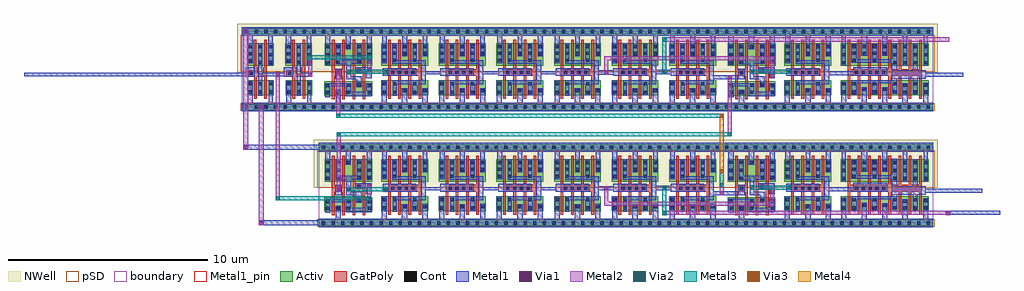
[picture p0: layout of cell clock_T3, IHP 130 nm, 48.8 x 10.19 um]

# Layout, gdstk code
import gdstk
lib = gdstk.Library(unit=1e-6, precision=1e-09)
def R(c, l, rs):  # rectangles x0, y0, x1, y1
    for r in rs: c.add(gdstk.rectangle(r[:2], r[2:], *l))
def A(c, l, x, y, w, h, nx, ny, dx, dy):  # array of equal rectangles
    R(c, l, [(x+i*dx, y+j*dy, x+i*dx+w, y+j*dy+h) for i in range(nx) for j in range(ny)])
def P(c, l, *ps):  # polygons
    for p in ps: c.add(gdstk.Polygon(p, *l))
Activ = (1, 0)
GatPoly = (5, 0)
Cont = (6, 0)
Metal1 = (8, 0)
Metal1_pin = (8, 2)
Metal2 = (10, 0)
pSD = (14, 0)
Via1 = (19, 0)
Via2 = (29, 0)
Metal3 = (30, 0)
NWell = (31, 0)
Via3 = (49, 0)
Metal4 = (50, 0)
boundary = (189, 4)

sg13g2_inv_8 = lib.new_cell('sg13g2_inv_8')
R(sg13g2_inv_8, Activ, [(0,-0.15,4.8,0.15), (0.185,0.59,4.575,1.33), (0.185,2.06,4.575,3.18), (0,3.63,4.8,3.93)])
P(sg13g2_inv_8, GatPoly, [(0.525,0.41),(0.525,3.36),(0.655,3.36),(0.655,1.9),(1.035,1.9),(1.035,3.36),(1.165,3.36),(1.165,1.9),(1.545,1.9),(1.545,3.36),(1.675,3.36),(1.675,1.9),(2.055,1.9),(2.055,3.36),(2.185,3.36),(2.185,1.9),(2.565,1.9),(2.565,3.36),(2.695,3.36),(2.695,1.9),(3.075,1.9),(3.075,3.36),(3.205,3.36),(3.205,1.9),(3.585,1.9),(3.585,3.36),(3.715,3.36),(3.715,1.9),(4.105,1.9),(4.105,3.36),(4.235,3.36),(4.235,0.41),(4.105,0.41),(4.105,1.57),(3.715,1.57),(3.715,0.41),(3.585,0.41),(3.585,1.57),(3.205,1.57),(3.205,0.41),(3.075,0.41),(3.075,1.57),(2.695,1.57),(2.695,0.41),(2.565,0.41),(2.565,1.57),(2.185,1.57),(2.185,0.41),(2.055,0.41),(2.055,1.57),(1.675,1.57),(1.675,0.41),(1.545,0.41),(1.545,1.57),(1.165,1.57),(1.165,0.41),(1.035,0.41),(1.035,1.57),(0.655,1.57),(0.655,0.41)])
A(sg13g2_inv_8, Cont, 0.16, -0.08, 0.16, 0.16, 10, 2, 0.48, 3.78)
A(sg13g2_inv_8, Cont, 0.765, 1.08, 0.16, 0.16, 4, 1, 1.02, 0)
A(sg13g2_inv_8, Cont, 0.89, 1.655, 0.16, 0.16, 5, 1, 0.34, 0)
A(sg13g2_inv_8, Cont, 2.805, 2.14, 0.16, 0.16, 3, 2, 0.51, 0.4)
A(sg13g2_inv_8, Cont, 0.255, 2.945, 0.16, 0.16, 8, 1, 0.51, 0)
R(sg13g2_inv_8, Cont, [(3.315,0.665,3.475,0.825), (0.255,0.67,0.415,0.83), (0.765,0.67,0.925,0.83), (1.785,0.67,1.945,0.83), (3.825,0.67,3.985,0.83), (4.345,0.67,4.505,0.83), (2.805,0.675,2.965,0.835), (1.275,0.815,1.435,0.975), (2.295,0.815,2.455,0.975), (3.315,1.015,3.475,1.175), (4.345,1.025,4.505,1.185), (0.255,1.08,0.415,1.24), (0.255,2.14,0.415,2.3), (4.345,2.14,4.505,2.3), (0.765,2.255,0.925,2.415), (1.785,2.255,1.945,2.415), (0.255,2.54,0.415,2.7), (4.345,2.54,4.505,2.7), (1.275,2.595,1.435,2.755), (2.295,2.595,2.455,2.755), (0.765,2.605,0.925,2.765), (1.785,2.605,1.945,2.765), (4.345,2.945,4.505,3.105)])
R(sg13g2_inv_8, Metal1, [(0.805,1.57,2.495,2)])
P(sg13g2_inv_8, Metal1, [(0,-0.22),(0,0.22),(0.205,0.22),(0.205,1.27),(0.465,1.27),(0.465,0.22),(1.225,0.22),(1.225,1),(1.485,1),(1.485,0.22),(2.245,0.22),(2.245,0.99),(2.505,0.99),(2.505,0.22),(3.265,0.22),(3.265,1.195),(3.525,1.195),(3.525,0.22),(4.295,0.22),(4.295,1.225),(4.555,1.225),(4.555,0.22),(4.8,0.22),(4.8,-0.22)],
  [(3.29,2.055),(3.29,3.56),(2.515,3.56),(2.515,2.56),(2.245,2.56),(2.245,3.56),(1.495,3.56),(1.495,2.565),(1.215,2.565),(1.215,3.56),(0.435,3.56),(0.435,2.06),(0.24,2.06),(0.24,3.56),(0,3.56),(0,4),(4.8,4),(4.8,3.56),(4.53,3.56),(4.53,2.065),(4.32,2.065),(4.32,3.56),(3.5,3.56),(3.5,2.055)],
  [(0.715,0.62),(0.715,1.345),(2.74,1.345),(2.74,2.22),(0.715,2.22),(0.715,3.16),(0.98,3.16),(0.98,2.385),(1.73,2.385),(1.73,3.155),(1.995,3.155),(1.995,2.38),(2.74,2.38),(2.74,3.2),(3.015,3.2),(3.015,1.84),(3.775,1.84),(3.775,3.19),(4.035,3.19),(4.035,1.84),(4.44,1.84),(4.44,1.42),(4.035,1.42),(4.035,0.64),(3.775,0.64),(3.775,1.42),(3.015,1.42),(3.015,0.665),(2.755,0.665),(2.755,1.18),(2,1.18),(2,0.635),(1.735,0.635),(1.735,1.18),(0.98,1.18),(0.98,0.62)])
R(sg13g2_inv_8, Metal1_pin, [(0,-0.22,4.8,0.22), (2.74,1.42,4.44,1.84), (0.805,1.57,2.495,2), (0,3.56,4.8,4)])
R(sg13g2_inv_8, pSD, [(-0.07,-0.18,4.87,0.18), (-0.07,1.76,4.87,3.6)])
R(sg13g2_inv_8, NWell, [(-0.24,1.75,5.04,4.17)])
R(sg13g2_inv_8, boundary, [(0,0,4.8,3.78)])
sg13g2_inv_8.add(gdstk.Label('VDD', (2.71,3.78), layer=8, texttype=25))
sg13g2_inv_8.add(gdstk.Label('VSS', (2.31,-0.02), layer=8, texttype=25))
sg13g2_inv_8.add(gdstk.Label('Y', (3.65,1.64), layer=8, texttype=25))
sg13g2_inv_8.add(gdstk.Label('A', (1.645,1.785), layer=8, texttype=25))

sg13g2_inv_4 = lib.new_cell('sg13g2_inv_4')
R(sg13g2_inv_4, Activ, [(0,-0.15,2.88,0.15), (0.245,0.59,2.585,1.33), (0.245,2.06,2.585,3.18), (0,3.63,2.88,3.93)])
P(sg13g2_inv_4, GatPoly, [(0.585,0.41),(0.585,3.36),(0.715,3.36),(0.715,1.9),(1.095,1.9),(1.095,3.36),(1.225,3.36),(1.225,1.9),(1.605,1.9),(1.605,3.36),(1.735,3.36),(1.735,1.9),(2.115,1.9),(2.115,3.36),(2.245,3.36),(2.245,0.41),(2.115,0.41),(2.115,1.57),(1.735,1.57),(1.735,0.41),(1.605,0.41),(1.605,1.57),(1.225,1.57),(1.225,0.41),(1.095,0.41),(1.095,1.57),(0.715,1.57),(0.715,0.41)])
A(sg13g2_inv_4, Cont, 0.16, -0.08, 0.16, 0.16, 6, 2, 0.48, 3.78)
A(sg13g2_inv_4, Cont, 0.735, 1.655, 0.16, 0.16, 4, 1, 0.34, 0)
A(sg13g2_inv_4, Cont, 0.315, 2.945, 0.16, 0.16, 5, 1, 0.51, 0)
R(sg13g2_inv_4, Cont, [(0.315,0.665,0.475,0.825), (0.825,0.665,0.985,0.825), (1.845,0.665,2.005,0.825), (1.335,0.735,1.495,0.895), (2.355,0.735,2.515,0.895), (0.315,1.09,0.475,1.25), (0.825,1.09,0.985,1.25), (1.845,1.09,2.005,1.25), (0.315,2.255,0.475,2.415), (0.825,2.255,0.985,2.415), (1.845,2.255,2.005,2.415), (1.335,2.595,1.495,2.755), (2.355,2.595,2.515,2.755), (0.315,2.605,0.475,2.765), (0.825,2.605,0.985,2.765), (1.845,2.605,2.005,2.765)])
R(sg13g2_inv_4, Metal1, [(0.325,1.57,2,1.95)])
P(sg13g2_inv_4, Metal1, [(0.285,2.19),(0.285,3.56),(0,3.56),(0,4),(2.88,4),(2.88,3.56),(2.55,3.56),(2.55,2.54),(2.32,2.54),(2.32,3.56),(1.54,3.56),(1.54,2.53),(1.3,2.53),(1.3,3.56),(0.53,3.56),(0.53,2.19)],
  [(0,-0.21),(0,0.21),(0.27,0.21),(0.27,1.325),(0.52,1.325),(0.52,0.21),(1.28,0.21),(1.28,0.945),(1.55,0.945),(1.55,0.22),(2.305,0.22),(2.305,0.95),(2.565,0.95),(2.565,0.21),(2.88,0.21),(2.88,-0.21)],
  [(0.815,0.57),(0.815,1.34),(2.245,1.34),(2.245,2.17),(0.8,2.17),(0.8,3.18),(1.015,3.18),(1.015,2.34),(1.815,2.34),(1.815,3.175),(2.03,3.175),(2.03,2.34),(2.475,2.34),(2.475,1.145),(2.06,1.145),(2.06,0.595),(1.805,0.595),(1.805,1.145),(1.01,1.145),(1.01,0.57)])
R(sg13g2_inv_4, Metal1_pin, [(0,-0.21,2.88,0.21), (2.245,1.145,2.475,2.34), (0.325,1.57,2,1.95), (0,3.56,2.88,4)])
R(sg13g2_inv_4, pSD, [(-0.07,-0.18,2.95,0.18), (-0.07,1.76,2.95,3.6)])
R(sg13g2_inv_4, NWell, [(-0.24,1.75,3.12,4.17)])
R(sg13g2_inv_4, boundary, [(0,0,2.88,3.78)])
sg13g2_inv_4.add(gdstk.Label('VSS', (1.405,0.005), layer=8, texttype=25))
sg13g2_inv_4.add(gdstk.Label('Y', (2.36,1.755), layer=8, texttype=25))
sg13g2_inv_4.add(gdstk.Label('VDD', (1.925,3.8), layer=8, texttype=25))
sg13g2_inv_4.add(gdstk.Label('A', (1.12,1.76), layer=8, texttype=25))

sg13g2_nand2_2 = lib.new_cell('sg13g2_nand2_2')
R(sg13g2_nand2_2, Activ, [(0,-0.15,2.88,0.15), (0.285,0.575,2.67,1.295), (0.3,2.06,2.68,3.18), (0,3.63,2.88,3.93)])
P(sg13g2_nand2_2, GatPoly, [(1.69,0.395),(1.69,3.36),(1.82,3.36),(1.82,1.99),(2.2,1.99),(2.2,3.36),(2.33,3.36),(2.33,0.395),(2.2,0.395),(2.2,1.685),(1.82,1.685),(1.82,0.395)],
  [(0.66,0.395),(0.66,3.36),(0.79,3.36),(0.79,1.875),(1.17,1.875),(1.17,3.36),(1.3,3.36),(1.3,0.395),(1.17,0.395),(1.17,1.565),(0.79,1.565),(0.79,0.395)])
A(sg13g2_nand2_2, Cont, 0.16, -0.08, 0.16, 0.16, 6, 2, 0.48, 3.78)
A(sg13g2_nand2_2, Cont, 0.9, 2.15, 0.16, 0.16, 1, 3, 0, 0.4)
R(sg13g2_nand2_2, Cont, [(0.9,0.645,1.06,0.805), (0.38,0.65,0.54,0.81), (2.44,0.65,2.6,0.81), (1.41,0.66,1.57,0.82), (0.375,0.99,0.535,1.15), (2.44,0.99,2.6,1.15), (1.41,1.005,1.57,1.165), (1.93,1.05,2.09,1.21), (0.9,1.64,1.06,1.8), (1.93,1.76,2.09,1.92), (0.37,2.14,0.53,2.3), (1.93,2.21,2.09,2.37), (2.44,2.21,2.6,2.37), (0.37,2.54,0.53,2.7), (1.93,2.55,2.09,2.71), (2.44,2.55,2.6,2.71), (0.37,2.95,0.53,3.11), (1.41,2.95,1.57,3.11), (1.93,2.95,2.09,3.11), (2.44,2.95,2.6,3.11)])
R(sg13g2_nand2_2, Metal1, [(0.82,1.39,1.15,1.92)])
P(sg13g2_nand2_2, Metal1, [(0,-0.22),(0,0.22),(0.85,0.22),(0.85,0.855),(1.11,0.855),(1.11,0.22),(2.88,0.22),(2.88,-0.22)],
  [(0.325,0.5),(0.325,1.2),(1.62,1.2),(1.62,0.76),(2.37,0.76),(2.37,1.2),(2.65,1.2),(2.65,0.53),(1.35,0.53),(1.35,1.035),(0.585,1.035),(0.585,0.5)],
  [(1.88,1),(1.88,1.39),(1.38,1.39),(1.38,2.14),(0.84,2.14),(0.84,3.18),(1.1,3.18),(1.1,2.36),(1.89,2.36),(1.89,3.18),(2.15,3.18),(2.15,2.16),(1.62,2.16),(1.62,1.55),(2.14,1.55),(2.14,1)],
  [(2.37,1.44),(2.37,1.73),(1.815,1.73),(1.815,1.98),(2.645,1.98),(2.645,1.44)],
  [(0.32,2.125),(0.32,3.56),(0,3.56),(0,4),(2.88,4),(2.88,3.56),(2.65,3.56),(2.65,2.16),(2.39,2.16),(2.39,3.56),(1.61,3.56),(1.61,2.9),(1.35,2.9),(1.35,3.56),(0.58,3.56),(0.58,2.125)])
R(sg13g2_nand2_2, Metal1_pin, [(0,-0.22,2.88,0.22), (0.82,1.39,1.15,1.92), (1.38,1.39,1.62,2.36), (1.815,1.73,2.645,1.98), (0,3.56,2.88,4)])
R(sg13g2_nand2_2, pSD, [(-0.07,-0.18,2.95,0.18), (-0.07,1.76,2.95,3.6)])
R(sg13g2_nand2_2, NWell, [(-0.24,1.75,3.12,4.17)])
R(sg13g2_nand2_2, boundary, [(0,0,2.88,3.78)])
sg13g2_nand2_2.add(gdstk.Label('VSS', (0.51,0), layer=8, texttype=25))
sg13g2_nand2_2.add(gdstk.Label('Y', (1.48,2.105), layer=8, texttype=25))
sg13g2_nand2_2.add(gdstk.Label('A', (2.01,1.84), layer=8, texttype=25))
sg13g2_nand2_2.add(gdstk.Label('VDD', (0.97,3.78), layer=8, texttype=25))
sg13g2_nand2_2.add(gdstk.Label('B', (0.98,1.655), layer=8, texttype=25))

sg13g2_inv_2_1 = lib.new_cell('sg13g2_inv_2$1')
R(sg13g2_inv_2_1, Activ, [(0,-0.15,1.92,0.15), (0.265,0.59,1.59,1.33), (0.255,2.06,1.58,3.18), (0,3.63,1.92,3.93)])
P(sg13g2_inv_2_1, GatPoly, [(0.605,0.41),(0.605,1.52),(0.305,1.52),(0.305,1.85),(0.595,1.85),(0.595,3.36),(0.725,3.36),(0.725,1.985),(0.785,1.985),(0.785,1.67),(1.055,1.67),(1.055,1.985),(1.11,1.985),(1.11,3.36),(1.24,3.36),(1.24,1.585),(1.245,1.585),(1.245,0.41),(1.115,0.41),(1.115,1.52),(0.735,1.52),(0.735,0.41)])
A(sg13g2_inv_2_1, Cont, 0.16, -0.08, 0.16, 0.16, 4, 2, 0.48, 3.78)
A(sg13g2_inv_2_1, Cont, 0.84, 2.145, 0.16, 0.16, 1, 3, 0, 0.395)
A(sg13g2_inv_2_1, Cont, 1.35, 2.145, 0.16, 0.16, 1, 3, 0, 0.395)
R(sg13g2_inv_2_1, Cont, [(0.335,0.675,0.495,0.835), (0.845,0.675,1.005,0.835), (1.36,0.675,1.52,0.835), (0.335,1.09,0.495,1.25), (0.845,1.09,1.005,1.25), (1.36,1.09,1.52,1.25), (0.39,1.605,0.55,1.765), (0.325,2.235,0.485,2.395), (0.325,2.59,0.485,2.75), (0.325,2.935,0.485,3.095)])
R(sg13g2_inv_2_1, Metal1, [(0.825,0.57,1.02,3.18), (0.18,1.52,0.635,2)])
P(sg13g2_inv_2_1, Metal1, [(0,-0.22),(0,0.22),(0.285,0.22),(0.285,1.3),(0.545,1.3),(0.545,0.22),(1.34,0.22),(1.34,1.305),(1.54,1.305),(1.54,0.22),(1.92,0.22),(1.92,-0.22)],
  [(1.32,2.095),(1.32,3.56),(0.535,3.56),(0.535,2.185),(0.275,2.185),(0.275,3.56),(0,3.56),(0,4),(1.92,4),(1.92,3.56),(1.535,3.56),(1.535,2.095)])
R(sg13g2_inv_2_1, Metal1_pin, [(0,-0.22,1.92,0.22), (0.825,0.57,1.02,3.18), (0.18,1.52,0.635,2), (0,3.56,1.92,4)])
R(sg13g2_inv_2_1, pSD, [(-0.07,-0.18,1.99,0.18), (-0.07,1.76,1.99,3.6)])
R(sg13g2_inv_2_1, NWell, [(-0.24,1.75,2.16,4.17)])
R(sg13g2_inv_2_1, boundary, [(0,0,1.92,3.78)])
sg13g2_inv_2_1.add(gdstk.Label('A', (0.415,1.75), layer=8, texttype=25))
sg13g2_inv_2_1.add(gdstk.Label('Y', (0.925,1.855), layer=8, texttype=25))
sg13g2_inv_2_1.add(gdstk.Label('VSS', (0.89,0), layer=8, texttype=25))
sg13g2_inv_2_1.add(gdstk.Label('VDD', (0.935,3.785), layer=8, texttype=25))

clock_t3 = lib.new_cell('clock_T3')
R(clock_t3, Metal1, [(34.675,-2.53,34.905,-2.3), (6.555,-1.34,6.775,-1.12), (26.72,-1.26,26.94,-1.04), (1.165,4.4,1.395,4.63), (6.56,4.535,6.78,4.755), (26.72,4.54,26.94,4.76)])
R(clock_t3, Metal2, [(20.505,-2.525,20.725,-2.305), (34.68,-2.525,34.9,-2.305), (4.725,-1.34,4.945,-1.12), (6.555,-1.34,6.775,-1.12), (20.505,-1.275,20.725,-1.055), (24.885,-1.26,25.105,-1.04), (26.72,-1.26,26.94,-1.04), (20.505,4.525,20.725,4.745), (4.725,4.535,4.945,4.755), (6.56,4.535,6.78,4.755), (24.885,4.54,25.105,4.76), (26.72,4.54,26.94,4.76), (20.505,6.15,20.725,6.37)])
R(clock_t3, Via1, [(0.37,-3.01,0.56,-2.82), (34.7,-2.51,34.89,-2.32), (23.4,-1.52,23.59,-1.33), (25.91,-1.44,26.1,-1.25), (4.23,-1.35,4.42,-1.16), (4.74,-1.325,4.93,-1.135), (6.57,-1.325,6.76,-1.135), (17.62,-1.275,17.81,-1.085), (20.52,-1.26,20.71,-1.07), (24.9,-1.245,25.09,-1.055), (26.735,-1.245,26.925,-1.055), (5.755,-1.175,5.945,-0.985), (-0.4,0.775,-0.21,0.965), (0.375,2.785,0.565,2.975), (23.79,4.28,23.98,4.47), (25.91,4.36,26.1,4.55), (2.815,4.395,3.005,4.585), (1.185,4.42,1.375,4.61), (17.62,4.525,17.81,4.715), (20.52,4.54,20.71,4.73), (4.215,4.55,4.405,4.74), (4.74,4.55,4.93,4.74), (6.575,4.55,6.765,4.74), (24.9,4.555,25.09,4.745), (26.735,4.555,26.925,4.745), (5.765,4.64,5.955,4.83), (-0.395,6.57,-0.205,6.76)])
R(clock_t3, Via2, [(20.52,-2.51,20.71,-2.32), (1.185,-1.77,1.375,-1.58), (5.755,-1.77,5.945,-1.58), (4.74,-1.325,4.93,-1.135), (6.57,-1.325,6.76,-1.135), (20.52,-1.26,20.71,-1.07), (24.9,-1.245,25.09,-1.055), (26.735,-1.245,26.925,-1.055), (23.4,-1.13,23.59,-0.94), (4.23,1.415,4.42,1.605), (23.79,1.415,23.98,1.605), (4.215,2.345,4.405,2.535), (20.52,4.54,20.71,4.73), (4.74,4.55,4.93,4.74), (6.575,4.55,6.765,4.74), (24.9,4.555,25.09,4.745), (26.735,4.555,26.925,4.745), (2.815,5.29,3.005,5.48), (5.765,5.29,5.955,5.48), (20.52,6.165,20.71,6.355)])
R(clock_t3, Metal3, [(20.505,-2.525,20.725,-2.305), (4.725,-1.34,4.945,-1.12), (6.555,-1.34,6.775,-1.12), (20.505,-1.275,20.725,-1.055), (24.885,-1.26,25.105,-1.04), (26.72,-1.26,26.94,-1.04), (20.505,4.525,20.725,4.745), (4.725,4.535,4.945,4.755), (6.56,4.535,6.78,4.755), (24.885,4.54,25.105,4.76), (26.72,4.54,26.94,4.76), (20.505,6.15,20.725,6.37)])
R(clock_t3, Via3, [(23.4,-0.425,23.59,-0.235), (23.4,2.345,23.59,2.535)])
clock_t3.add(gdstk.FlexPath([(-11.405,4.515),(-0.325,4.515)], 0.16, ends="flush", simple_path=True, layer=8, datatype=0))  # Metal1
clock_t3.add(gdstk.FlexPath([(0.34,-2.915),(3.335,-2.915)], 0.25, ends="flush", simple_path=True, layer=8, datatype=0))  # Metal1
clock_t3.add(gdstk.FlexPath([(33.695,4.495),(35.55,4.495)], 0.2, ends="flush", simple_path=True, layer=8, datatype=0))  # Metal1
clock_t3.add(gdstk.FlexPath([(33.695,-1.305),(36.5,-1.305)], 0.2, ends="flush", simple_path=True, layer=8, datatype=0))  # Metal1
clock_t3.add(gdstk.FlexPath([(34.905,-2.415),(37.4,-2.415)], 0.2, ends="flush", simple_path=True, layer=8, datatype=0))  # Metal1
clock_t3.add(gdstk.FlexPath([(2.435,4.49),(3.01,4.49)], 0.2, ends="flush", simple_path=True, layer=8, datatype=0))  # Metal1
clock_t3.add(gdstk.FlexPath([(8.69,-1.2),(9.42,-1.2)], 0.16, ends="flush", simple_path=True, layer=8, datatype=0))  # Metal1
clock_t3.add(gdstk.FlexPath([(11.57,-1.2),(12.3,-1.2)], 0.16, ends="flush", simple_path=True, layer=8, datatype=0))  # Metal1
clock_t3.add(gdstk.FlexPath([(14.45,-1.2),(15.18,-1.2)], 0.16, ends="flush", simple_path=True, layer=8, datatype=0))  # Metal1
clock_t3.add(gdstk.FlexPath([(8.69,4.6),(9.42,4.6)], 0.16, ends="flush", simple_path=True, layer=8, datatype=0))  # Metal1
clock_t3.add(gdstk.FlexPath([(11.57,4.6),(12.3,4.6)], 0.16, ends="flush", simple_path=True, layer=8, datatype=0))  # Metal1
clock_t3.add(gdstk.FlexPath([(14.45,4.6),(15.18,4.6)], 0.16, ends="flush", simple_path=True, layer=8, datatype=0))  # Metal1
clock_t3.add(gdstk.FlexPath([(24.315,-1.425),(23.09,-1.425)], 0.2, ends="flush", simple_path=True, layer=8, datatype=0))  # Metal1
clock_t3.add(gdstk.FlexPath([(24.315,4.375),(23.09,4.375)], 0.2, ends="flush", simple_path=True, layer=8, datatype=0))  # Metal1
clock_t3.add(gdstk.FlexPath([(28.85,-1.225),(30.06,-1.225)], 0.2, ends="flush", simple_path=True, layer=8, datatype=0))  # Metal1
clock_t3.add(gdstk.FlexPath([(28.85,4.575),(30.06,4.575)], 0.2, ends="flush", simple_path=True, layer=8, datatype=0))  # Metal1
clock_t3.add(gdstk.FlexPath([(18.06,-1.18),(17.33,-1.18)], 0.22, ends="flush", simple_path=True, layer=8, datatype=0))  # Metal1
clock_t3.add(gdstk.FlexPath([(20.94,-1.165),(20.21,-1.165)], 0.22, ends="flush", simple_path=True, layer=8, datatype=0))  # Metal1
clock_t3.add(gdstk.FlexPath([(18.06,4.62),(17.33,4.62)], 0.22, ends="flush", simple_path=True, layer=8, datatype=0))  # Metal1
clock_t3.add(gdstk.FlexPath([(20.94,4.635),(20.21,4.635)], 0.22, ends="flush", simple_path=True, layer=8, datatype=0))  # Metal1
clock_t3.add(gdstk.FlexPath([(0.515,4.515),(1.595,4.515)], 0.16, ends="flush", simple_path=True, layer=8, datatype=0))  # Metal1
clock_t3.add(gdstk.FlexPath([(-0.43,0.865),(3.335,0.865)], 0.25, ends="flush", simple_path=True, layer=8, datatype=0))  # Metal1
clock_t3.add(gdstk.FlexPath([(1.28,4.615),(1.28,-1.775)], 0.2, ends="flush", simple_path=True, layer=10, datatype=0))  # Metal2
clock_t3.add(gdstk.FlexPath([(20.71,6.26),(34.865,6.26)], 0.22, ends="flush", simple_path=True, layer=10, datatype=0))  # Metal2
clock_t3.add(gdstk.FlexPath([(5.86,5.485),(5.86,4.635)], 0.2, ends="flush", simple_path=True, layer=10, datatype=0))  # Metal2
clock_t3.add(gdstk.FlexPath([(17.715,4.52),(17.715,5.33),(26.005,5.33),(26.005,4.35)], 0.2, ends="flush", simple_path=True, layer=10, datatype=0))  # Metal2
clock_t3.add(gdstk.FlexPath([(2.91,4.39),(2.91,5.485)], 0.2, ends="flush", simple_path=True, layer=10, datatype=0))  # Metal2
clock_t3.add(gdstk.FlexPath([(26.005,-1.25),(26.005,-1.96),(17.715,-1.96),(17.715,-1.08)], 0.2, ends="flush", simple_path=True, layer=10, datatype=0))  # Metal2
clock_t3.add(gdstk.FlexPath([(4.31,4.745),(4.31,2.34)], 0.2, ends="flush", simple_path=True, layer=10, datatype=0))  # Metal2
clock_t3.add(gdstk.FlexPath([(4.325,-1.355),(4.325,1.61)], 0.2, ends="flush", simple_path=True, layer=10, datatype=0))  # Metal2
clock_t3.add(gdstk.FlexPath([(-0.305,6.79),(-0.305,0.74)], 0.25, ends="flush", simple_path=True, layer=10, datatype=0))  # Metal2
clock_t3.add(gdstk.FlexPath([(23.495,-1.525),(23.495,-0.935)], 0.2, ends="flush", simple_path=True, layer=10, datatype=0))  # Metal2
clock_t3.add(gdstk.FlexPath([(23.885,4.475),(23.885,1.41)], 0.2, ends="flush", simple_path=True, layer=10, datatype=0))  # Metal2
clock_t3.add(gdstk.FlexPath([(0.465,3.005),(0.465,-3.04)], 0.25, ends="flush", simple_path=True, layer=10, datatype=0))  # Metal2
clock_t3.add(gdstk.FlexPath([(20.71,-2.415),(34.68,-2.415)], 0.2, ends="flush", simple_path=True, layer=10, datatype=0))  # Metal2
clock_t3.add(gdstk.FlexPath([(5.85,-0.98),(5.85,-1.775)], 0.2, ends="flush", simple_path=True, layer=10, datatype=0))  # Metal2
clock_t3.add(gdstk.FlexPath([(4.93,-1.23),(6.57,-1.23)], 0.2, ends="flush", simple_path=True, layer=30, datatype=0))  # Metal3
clock_t3.add(gdstk.FlexPath([(4.935,4.645),(6.575,4.645)], 0.2, ends="flush", simple_path=True, layer=30, datatype=0))  # Metal3
clock_t3.add(gdstk.FlexPath([(4.225,1.51),(23.985,1.51)], 0.2, ends="flush", simple_path=True, layer=30, datatype=0))  # Metal3
clock_t3.add(gdstk.FlexPath([(23.595,2.44),(4.21,2.44)], 0.2, ends="flush", simple_path=True, layer=30, datatype=0))  # Metal3
clock_t3.add(gdstk.FlexPath([(23.495,-1.135),(23.495,-0.23)], 0.2, ends="flush", simple_path=True, layer=30, datatype=0))  # Metal3
clock_t3.add(gdstk.FlexPath([(5.95,-1.675),(1.18,-1.675)], 0.2, ends="flush", simple_path=True, layer=30, datatype=0))  # Metal3
clock_t3.add(gdstk.FlexPath([(20.615,4.745),(20.615,5.775),(20.615,6.165)], 0.2, ends="flush", simple_path=True, layer=30, datatype=0))  # Metal3
clock_t3.add(gdstk.FlexPath([(2.81,5.385),(5.96,5.385)], 0.2, ends="flush", simple_path=True, layer=30, datatype=0))  # Metal3
clock_t3.add(gdstk.FlexPath([(20.615,-1.275),(20.615,-2.305),(20.615,-2.305)], 0.2, ends="flush", simple_path=True, layer=30, datatype=0))  # Metal3
clock_t3.add(gdstk.FlexPath([(25.09,-1.15),(26.735,-1.15)], 0.2, ends="flush", simple_path=True, layer=30, datatype=0))  # Metal3
clock_t3.add(gdstk.FlexPath([(25.09,4.65),(26.735,4.65)], 0.2, ends="flush", simple_path=True, layer=30, datatype=0))  # Metal3
clock_t3.add(gdstk.FlexPath([(23.495,-0.43),(23.495,2.54)], 0.2, ends="flush", simple_path=True, layer=50, datatype=0))  # Metal4
clock_t3.add(gdstk.Reference(sg13g2_inv_8, (29.255,-2.915)))
clock_t3.add(gdstk.Reference(sg13g2_inv_8, (29.255,2.885)))
clock_t3.add(gdstk.Reference(sg13g2_inv_4, (6.215,-2.915)))
clock_t3.add(gdstk.Reference(sg13g2_inv_4, (9.095,-2.915)))
clock_t3.add(gdstk.Reference(sg13g2_inv_4, (11.975,-2.915)))
clock_t3.add(gdstk.Reference(sg13g2_inv_4, (14.855,-2.915)))
clock_t3.add(gdstk.Reference(sg13g2_inv_4, (17.735,-2.915)))
clock_t3.add(gdstk.Reference(sg13g2_inv_4, (20.615,-2.915)))
clock_t3.add(gdstk.Reference(sg13g2_inv_4, (26.375,-2.915)))
clock_t3.add(gdstk.Reference(sg13g2_inv_4, (6.215,2.885)))
clock_t3.add(gdstk.Reference(sg13g2_inv_4, (9.095,2.885)))
clock_t3.add(gdstk.Reference(sg13g2_inv_4, (11.975,2.885)))
clock_t3.add(gdstk.Reference(sg13g2_inv_4, (14.855,2.885)))
clock_t3.add(gdstk.Reference(sg13g2_inv_4, (17.735,2.885)))
clock_t3.add(gdstk.Reference(sg13g2_inv_4, (20.615,2.885)))
clock_t3.add(gdstk.Reference(sg13g2_inv_4, (26.375,2.885)))
clock_t3.add(gdstk.Reference(sg13g2_nand2_2, (3.335,-2.915)))
clock_t3.add(gdstk.Reference(sg13g2_nand2_2, (23.495,-2.915)))
clock_t3.add(gdstk.Reference(sg13g2_nand2_2, (3.335,2.885)))
clock_t3.add(gdstk.Reference(sg13g2_nand2_2, (23.495,2.885)))
clock_t3.add(gdstk.Reference(sg13g2_inv_2_1, (-0.505,2.885)))
clock_t3.add(gdstk.Reference(sg13g2_inv_2_1, (1.415,2.885)))

lib.write_gds('clock_T3.gds')
